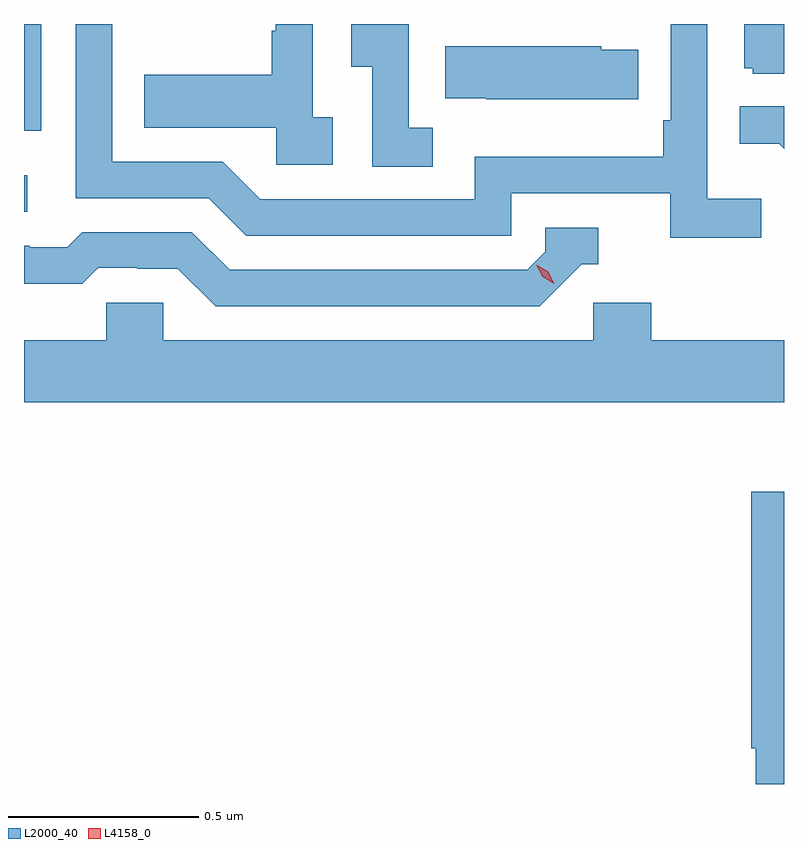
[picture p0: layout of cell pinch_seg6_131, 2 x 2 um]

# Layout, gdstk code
import gdstk
lib = gdstk.Library(unit=1e-6, precision=1e-09)
def R(c, l, rs):  # rectangles x0, y0, x1, y1
    for r in rs: c.add(gdstk.rectangle(r[:2], r[2:], *l))
def P(c, l, *ps):  # polygons
    for p in ps: c.add(gdstk.Polygon(p, *l))
L2000_40 = (2000, 40)
L4158_0 = (4158, 0)

pinch_seg6_131 = lib.new_cell('pinch_seg6_131')
R(pinch_seg6_131, L2000_40, [(1012.598,935.85,1012.606,935.946), (1012.598,936.063,1012.644,936.344)])
P(pinch_seg6_131, L2000_40, [(1013.41,936.098),(1013.358,936.098),(1013.358,936.344),(1013.26,936.344),(1013.26,936.326),(1013.25,936.326),(1013.25,936.211),(1012.915,936.211),(1012.915,936.071),(1013.262,936.071),(1013.262,935.973),(1013.41,935.973)],
  [(1013.674,936.071),(1013.61,936.071),(1013.61,936.344),(1013.459,936.344),(1013.459,936.232),(1013.514,936.232),(1013.514,935.968),(1013.674,935.968)],
  [(1014.598,936.344),(1014.494,936.344),(1014.494,936.228),(1014.516,936.228),(1014.516,936.213),(1014.598,936.213)],
  [(1014.538,935.884),(1014.396,935.884),(1014.396,936.344),(1014.3,936.344),(1014.3,936.091),(1014.28,936.091),(1014.28,935.995),(1013.784,935.995),(1013.784,935.883),(1013.22,935.883),(1013.121,935.982),(1012.83,935.982),(1012.83,936.344),(1012.734,936.344),(1012.734,935.886),(1013.084,935.886),(1013.183,935.787),(1013.88,935.787),(1013.88,935.898),(1014.299,935.898),(1014.299,935.782),(1014.538,935.782)],
  [(1014.215,936.276),(1014.117,936.276),(1014.117,936.286),(1013.707,936.286),(1013.707,936.149),(1013.815,936.149),(1013.815,936.146),(1014.215,936.146)],
  [(1014.598,936.128),(1014.481,936.128),(1014.481,936.029),(1014.585,936.029),(1014.598,936.016)],
  [(1014.066,935.712),(1014.109,935.712),(1014.109,935.808),(1013.97,935.808),(1013.97,935.745),(1013.922,935.697),(1013.139,935.697),(1013.04,935.796),(1012.751,935.796),(1012.712,935.757),(1012.613,935.757),(1012.613,935.76),(1012.598,935.76),(1012.598,935.661),(1012.751,935.661),(1012.793,935.703),(1012.896,935.703),(1012.896,935.7),(1013.003,935.7),(1013.102,935.601),(1013.955,935.601)],
  [(1014.598,935.512),(1014.248,935.512),(1014.248,935.61),(1014.096,935.61),(1014.096,935.512),(1012.965,935.512),(1012.965,935.61),(1012.815,935.61),(1012.815,935.512),(1012.598,935.512),(1012.598,935.348),(1014.598,935.348)],
  [(1014.598,935.113),(1014.512,935.113),(1014.512,934.438),(1014.524,934.438),(1014.524,934.344),(1014.598,934.344)])
P(pinch_seg6_131, L4158_0, [(1013.994,935.66),(1013.963,935.679),(1013.946,935.711),(1013.946,935.711),(1013.946,935.711),(1013.977,935.692),(1013.994,935.66),(1013.994,935.66)])

lib.write_gds('pinch_seg6_131.gds')
